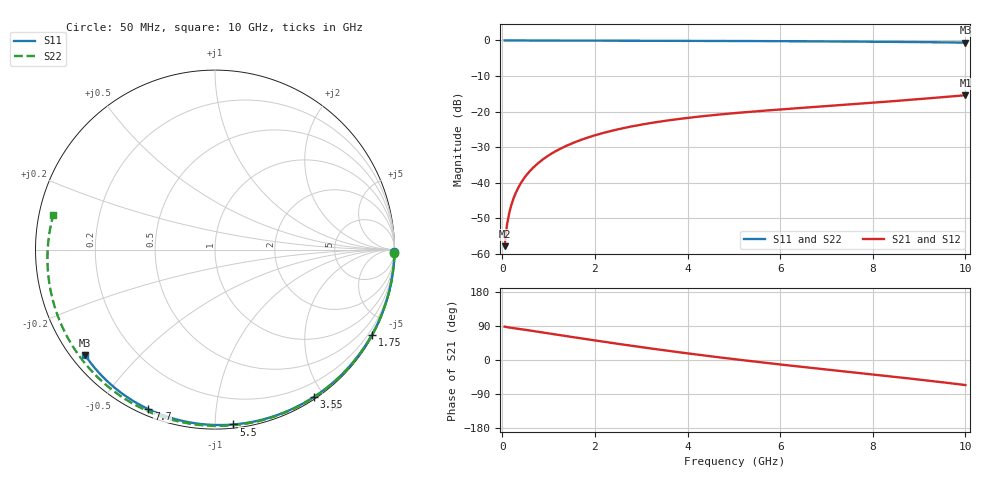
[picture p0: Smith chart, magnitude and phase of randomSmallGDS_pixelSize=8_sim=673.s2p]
! freq	dB(S11)	phase(S11)	dB(S12)	phase(S12)
!  dB(S21)	phase(S21)	dB(S22)	phase(S22)
!S-par simulation data
#  GHz  S  DB  R 50
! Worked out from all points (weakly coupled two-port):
!   200 points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, 50 MHz to 10 GHz, reference 50 ohm
!   highest |S21| = -15.42 dB at 10 GHz (marker M1); lowest = -57.9 dB at 50 MHz (marker M2)
!   lowest |S11| = -0.6 dB at 10 GHz (marker M3), VSWR 28.63, Z = 1.97 - j17.7 ohm
!   |S11| at or under -10 dB: nowhere
!   |S22| runs from -0.7 to 0.0 dB; largest |S21 - S12| = 0
!   S11 on the Smith chart (normalised r, x): 50 MHz: open; 1.75 GHz: 0.04, -3.94; 3.55 GHz: 0.03, -1.87; 5.5 GHz: 0.02, -1.11; 7.7 GHz: 0.03, -0.67; 10 GHz: 0.04, -0.35
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0.05  -0.00 -0.8  -57.89 88.1  -57.89 88.1  -0.00 -1.1
0.1  -0.00 -1.7  -51.98 86.7  -51.98 86.7  -0.00 -2.3
0.15  -0.00 -2.5  -48.54 85.7  -48.54 85.7  -0.00 -3.4
0.2  -0.00 -3.3  -46.10 84.8  -46.10 84.8  -0.00 -4.5
0.25  -0.00 -4.1  -44.20 84.0  -44.20 84.0  -0.00 -5.7
0.35  -0.00 -5.8  -41.32 82.3  -41.32 82.3  -0.01 -7.9
0.5  -0.01 -8.3  -38.26 79.6  -38.26 79.6  -0.01 -11.3
0.7  -0.01 -11.5  -35.39 75.9  -35.39 75.9  -0.02 -15.8
1  -0.02 -16.4  -32.36 70.2  -32.36 70.2  -0.03 -22.5
1.35  -0.03 -22.1  -29.86 63.7  -29.86 63.7  -0.04 -30.1
1.75  -0.04 -28.4  -27.75 56.2  -27.75 56.2  -0.06 -38.8
2.6  -0.07 -41.8  -24.71 40.9  -24.71 40.9  -0.09 -56.8
3.4  -0.09 -54.0  -22.84 27.2  -22.84 27.2  -0.12 -72.9
3.55  -0.10 -56.2  -22.56 24.8  -22.56 24.8  -0.12 -75.9
4.3  -0.12 -67.2  -21.36 12.8  -21.36 12.8  -0.16 -90.3
5.05  -0.16 -77.8  -20.41 1.6  -20.41 1.6  -0.19 -104.1
5.5  -0.18 -84.0  -19.92 -4.8  -19.92 -4.8  -0.22 -112.2
6.7  -0.25 -99.9  -18.76 -21.2  -18.76 -21.2  -0.30 -133.1
7.7  -0.32 -112.6  -17.82 -34.3  -17.82 -34.3  -0.40 -150.4
8.35  -0.39 -120.7  -17.18 -42.8  -17.18 -42.8  -0.47 -161.7
9.2  -0.49 -131.2  -16.29 -54.5  -16.29 -54.5  -0.58 -177.0
10  -0.61 -141.0  -15.42 -66.1  -15.42 -66.1  -0.71 167.8
